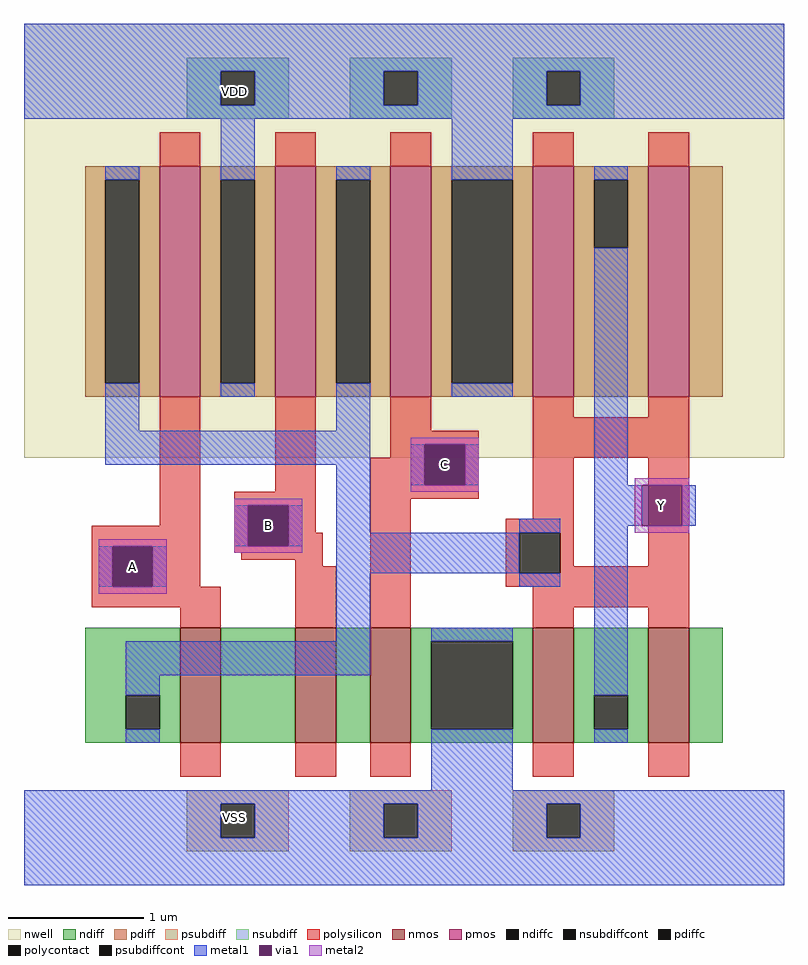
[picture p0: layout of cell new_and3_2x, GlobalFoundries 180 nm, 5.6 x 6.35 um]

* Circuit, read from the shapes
.subckt new_and3_2x A B C VDD VSS Y
XM1 n1 A n2 VSS nfet_03v3 w=0.85u l=0.3u
XM2 n3 B n1 VSS nfet_03v3 w=0.85u l=0.3u
XM3 VSS C n3 VSS nfet_03v3 w=0.85u l=0.3u
XM4 Y n2 VSS VSS nfet_03v3 w=0.85u l=0.3u
XM5 n4 n2 Y VSS nfet_03v3 w=0.85u l=0.3u
XM6 VDD A n2 VDD pfet_03v3 w=1.7u l=0.3u
XM7 n2 B VDD VDD pfet_03v3 w=1.7u l=0.3u
XM8 VDD C n2 VDD pfet_03v3 w=1.7u l=0.3u
XM9 Y n2 VDD VDD pfet_03v3 w=1.7u l=0.3u
XM10 n5 n2 Y VDD pfet_03v3 w=1.7u l=0.3u
.ends

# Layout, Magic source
magic
tech gf180mcuD
<< nwell >>
rect -18 63 94 127
<< nmos >>
rect 5 21 11 38
rect 22 21 28 38
rect 33 21 39 38
rect 57 21 63 38
rect 74 21 80 38
<< pmos >>
rect 2 72 8 106
rect 19 72 25 106
rect 36 72 42 106
rect 57 72 63 106
rect 74 72 80 106
<< ndiff >>
rect -9 28 5 38
rect -9 23 -3 28
rect 2 23 5 28
rect -9 21 5 23
rect 11 21 22 38
rect 28 21 33 38
rect 39 36 57 38
rect 39 23 42 36
rect 54 23 57 36
rect 39 21 57 23
rect 63 28 74 38
rect 63 23 66 28
rect 71 23 74 28
rect 63 21 74 23
rect 80 21 85 38
<< pdiff >>
rect -9 104 2 106
rect -9 74 -6 104
rect -1 74 2 104
rect -9 72 2 74
rect 8 104 19 106
rect 8 74 11 104
rect 16 74 19 104
rect 8 72 19 74
rect 25 104 36 106
rect 25 74 28 104
rect 33 74 36 104
rect 25 72 36 74
rect 42 104 57 106
rect 42 74 45 104
rect 54 74 57 104
rect 42 72 57 74
rect 63 104 74 106
rect 63 94 66 104
rect 71 94 74 104
rect 63 72 74 94
rect 80 72 85 106
<< ndiffc >>
rect -3 23 2 28
rect 42 23 54 36
rect 66 23 71 28
<< pdiffc >>
rect -6 74 -1 104
rect 11 74 16 104
rect 28 74 33 104
rect 45 74 54 104
rect 66 94 71 104
<< psubdiff >>
rect 6 12 21 14
rect 6 7 11 12
rect 16 7 21 12
rect 6 5 21 7
rect 30 12 45 14
rect 30 7 35 12
rect 40 7 45 12
rect 30 5 45 7
rect 54 12 69 14
rect 54 7 59 12
rect 64 7 69 12
rect 54 5 69 7
<< nsubdiff >>
rect 6 120 21 122
rect 6 115 11 120
rect 16 115 21 120
rect 6 113 21 115
rect 30 120 45 122
rect 30 115 35 120
rect 40 115 45 120
rect 30 113 45 115
rect 54 120 69 122
rect 54 115 59 120
rect 64 115 69 120
rect 54 113 69 115
<< psubdiffcont >>
rect 11 7 16 12
rect 35 7 40 12
rect 59 7 64 12
<< nsubdiffcont >>
rect 11 115 16 120
rect 35 115 40 120
rect 59 115 64 120
<< polysilicon >>
rect 2 106 8 111
rect 19 106 25 111
rect 36 106 42 111
rect 57 106 63 111
rect 74 106 80 111
rect 2 53 8 72
rect 19 58 25 72
rect 36 67 42 72
rect 57 69 63 72
rect 74 69 80 72
rect 36 65 49 67
rect 36 63 41 65
rect -8 50 8 53
rect -8 44 -5 50
rect 1 44 8 50
rect 13 56 25 58
rect 13 50 15 56
rect 21 52 25 56
rect 33 59 41 63
rect 47 59 49 65
rect 33 57 49 59
rect 57 63 80 69
rect 21 50 26 52
rect 13 49 26 50
rect 14 48 26 49
rect 22 47 26 48
rect -8 41 11 44
rect 5 38 11 41
rect 22 38 28 47
rect 33 38 39 57
rect 57 54 63 63
rect 53 52 63 54
rect 53 46 55 52
rect 61 47 63 52
rect 74 47 80 63
rect 61 46 80 47
rect 53 44 80 46
rect 57 41 80 44
rect 57 38 63 41
rect 74 38 80 41
rect 5 16 11 21
rect 22 16 28 21
rect 33 16 39 21
rect 57 16 63 21
rect 74 16 80 21
<< polycontact >>
rect -5 44 1 50
rect 15 50 21 56
rect 41 59 47 65
rect 55 46 61 52
<< metal1 >>
rect -18 120 94 127
rect -18 115 11 120
rect 16 115 35 120
rect 40 115 59 120
rect 64 115 94 120
rect -18 113 94 115
rect -6 104 -1 106
rect -6 67 -1 74
rect 11 104 16 113
rect 11 72 16 74
rect 28 104 33 106
rect 28 67 33 74
rect 45 104 54 113
rect 45 72 54 74
rect 66 104 71 106
rect -6 62 33 67
rect 13 50 15 56
rect 21 50 23 56
rect 28 52 33 62
rect 39 59 41 65
rect 47 59 49 65
rect 66 59 71 94
rect 55 52 61 54
rect -7 44 -5 50
rect 1 44 3 50
rect 28 46 55 52
rect 28 36 33 46
rect 55 44 61 46
rect 66 53 73 59
rect 79 53 81 59
rect -3 31 33 36
rect 42 36 54 38
rect -3 28 2 31
rect -3 21 2 23
rect 42 14 54 23
rect 66 28 71 53
rect 66 21 71 23
rect -18 12 94 14
rect -18 7 11 12
rect 16 7 35 12
rect 40 7 59 12
rect 64 7 94 12
rect -18 0 94 7
<< via1 >>
rect 15 50 21 56
rect 41 59 47 65
rect -5 44 1 50
rect 73 53 79 59
<< metal2 >>
rect 39 65 49 66
rect 39 59 41 65
rect 47 59 49 65
rect 39 58 49 59
rect 72 59 80 60
rect 13 56 23 57
rect -7 50 3 51
rect -7 44 -5 50
rect 1 44 3 50
rect 13 50 15 56
rect 21 50 23 56
rect 72 53 73 59
rect 79 53 80 59
rect 72 52 80 53
rect 13 49 23 50
rect -7 43 3 44
<< labels >>
rlabel nsubdiffcont 13 117 13 117 1 VDD
rlabel psubdiffcont 13 10 13 10 1 VSS
flabel psubdiffcont 11 7 16 12 0 FreeSans 16 0 0 0 VSS
flabel nsubdiffcont 11 115 16 120 0 FreeSans 16 0 0 0 VDD
flabel metal2 41 59 47 65 0 FreeSans 32 0 0 0 C
flabel metal2 -5 44 1 50 0 FreeSans 32 0 0 0 A
flabel metal2 15 50 21 56 0 FreeSans 32 0 0 0 B
flabel via1 73 53 79 59 0 FreeSans 32 0 0 0 Y
<< end >>
